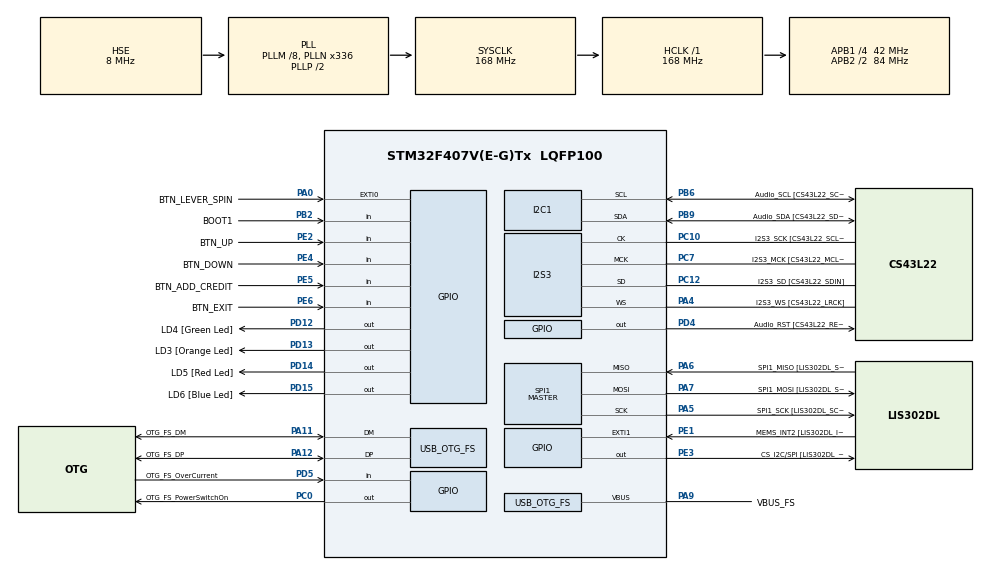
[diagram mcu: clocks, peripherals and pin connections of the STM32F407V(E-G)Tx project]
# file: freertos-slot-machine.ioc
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FREERTOS.Tasks01=gameTask,24,128,StartGameTask,Default,NULL,Dynamic,NULL,NULL;inputTask,24,128,StartInputTask,Default,NULL,Dynamic,NULL,NULL;displayTask,24,128,startDisplayTask,Default,NULL,Dynamic,NULL,NULL;creditTask,24,128,startCreditTask,Default,NULL,Dynamic,NULL,NULL
I2S3.AudioFreq-Half_Duplex_Master=I2S_AUDIOFREQ_96K
I2S3.ErrorAudioFreq=-2.34 %
I2S3.ErrorAudioFreq-Half_Duplex_Master=0.8 %
I2S3.FullDuplexMode=I2S_FULLDUPLEXMODE_DISABLE
I2S3.Instance=SPI$Index
I2S3.RealAudioFreq=93.75 KHz
I2S3.RealAudioFreq-Half_Duplex_Master=96.774 KHz
I2S3.VirtualMode=I2S_MODE_MASTER
Mcu.Family=STM32F4
Mcu.Name=STM32F407V(E-G)Tx
Mcu.Package=LQFP100
NVIC.EXTI0_IRQn=true\:5\:0\:false\:false\:true\:true\:true\:true\:true
NVIC.OTG_FS_IRQn=true\:5\:0\:false\:false\:true\:true\:true\:true\:true
NVIC.PriorityGroup=NVIC_PRIORITYGROUP_4
PA0-WKUP.GPIO_Label=BTN_LEVER_SPIN
PA0-WKUP.GPIO_PuPd=GPIO_PULLDOWN
PA0-WKUP.Signal=GPXTI0
PA10.GPIO_Label=OTG_FS_ID
PA10.GPIO_Mode=GPIO_MODE_AF_PP
PA10.GPIO_PuPd=GPIO_NOPULL
PA10.GPIO_Speed=GPIO_SPEED_FREQ_LOW
PA10.Signal=USB_OTG_FS_ID
PA11.GPIO_Label=OTG_FS_DM
PA11.GPIO_Mode=GPIO_MODE_AF_PP
PA11.GPIO_PuPd=GPIO_NOPULL
PA11.GPIO_Speed=GPIO_SPEED_FREQ_LOW
PA11.Mode=Host_Only
PA11.Signal=USB_OTG_FS_DM
PA12.GPIO_Label=OTG_FS_DP
PA12.GPIO_Mode=GPIO_MODE_AF_PP
PA12.GPIO_PuPd=GPIO_NOPULL
PA12.GPIO_Speed=GPIO_SPEED_FREQ_LOW
PA12.Mode=Host_Only
PA12.Signal=USB_OTG_FS_DP
PA13.GPIO_Label=SWDIO
PA13.Mode=Serial_Wire
PA13.Signal=SYS_JTMS-SWDIO
PA14.GPIO_Label=SWCLK
PA14.Mode=Serial_Wire
PA14.Signal=SYS_JTCK-SWCLK
PA4.GPIO_Label=I2S3_WS [CS43L22_LRCK]
PA4.GPIO_Mode=GPIO_MODE_AF_PP
PA4.GPIO_PuPd=GPIO_NOPULL
PA4.GPIO_Speed=GPIO_SPEED_FREQ_LOW
PA4.Mode=Half_Duplex_Master
PA4.Signal=I2S3_WS
PA5.GPIO_Label=SPI1_SCK [LIS302DL_SCL/SPC]
PA5.GPIO_Mode=GPIO_MODE_AF_PP
PA5.GPIO_PuPd=GPIO_NOPULL
PA5.GPIO_Speed=GPIO_SPEED_FREQ_LOW
PA5.Mode=Full_Duplex_Master
PA5.Signal=SPI1_SCK
PA6.GPIO_Label=SPI1_MISO [LIS302DL_SDO]
PA6.GPIO_Mode=GPIO_MODE_AF_PP
PA6.GPIO_PuPd=GPIO_NOPULL
PA6.GPIO_Speed=GPIO_SPEED_FREQ_LOW
PA6.Mode=Full_Duplex_Master
PA6.Signal=SPI1_MISO
PA7.GPIO_Label=SPI1_MOSI [LIS302DL_SDA/SDI/SDO]
PA7.GPIO_Mode=GPIO_MODE_AF_PP
PA7.GPIO_PuPd=GPIO_NOPULL
PA7.GPIO_Speed=GPIO_SPEED_FREQ_LOW
PA7.Mode=Full_Duplex_Master
PA7.Signal=SPI1_MOSI
PA9.GPIO_Label=VBUS_FS
PA9.GPIO_Mode=GPIO_MODE_INPUT
PA9.GPIO_PuPd=GPIO_NOPULL
PA9.Mode=Activate_VBUS
PA9.Signal=USB_OTG_FS_VBUS
PB10.GPIO_Label=CLK_IN [MP45DT02_CLK]
PB10.GPIO_Mode=GPIO_MODE_AF_PP
PB10.GPIO_PuPd=GPIO_NOPULL
PB10.GPIO_Speed=GPIO_SPEED_FREQ_LOW
PB10.Signal=I2S2_CK
PB2.GPIO_Label=BOOT1
PB2.GPIO_Mode=GPIO_MODE_INPUT
PB2.GPIO_PuPd=GPIO_NOPULL
PB2.Signal=GPIO_Input
PB3.GPIO_Label=SWO
PB3.Signal=SYS_JTDO-SWO
PB6.GPIO_Label=Audio_SCL [CS43L22_SCL]
PB6.GPIO_Mode=GPIO_MODE_AF_OD
PB6.GPIO_Pu=GPIO_PULLUP
PB6.GPIO_PuPd=GPIO_NOPULL
PB6.GPIO_Speed=GPIO_SPEED_FREQ_LOW
PB6.Mode=I2C
PB6.Signal=I2C1_SCL
PB9.GPIO_Label=Audio_SDA [CS43L22_SDA]
PB9.GPIO_Mode=GPIO_MODE_AF_OD
PB9.GPIO_Pu=GPIO_PULLUP
PB9.GPIO_PuPd=GPIO_NOPULL
PB9.GPIO_Speed=GPIO_SPEED_FREQ_LOW
PB9.Mode=I2C
PB9.Signal=I2C1_SDA
PC0.GPIO_Label=OTG_FS_PowerSwitchOn
PC0.GPIO_PuPd=GPIO_NOPULL
PC0.GPIO_Speed=GPIO_SPEED_FREQ_LOW
PC0.PinState=GPIO_PIN_SET
PC0.Signal=GPIO_Output
PC10.GPIO_Label=I2S3_SCK [CS43L22_SCLK]
PC10.GPIO_Mode=GPIO_MODE_AF_PP
PC10.GPIO_PuPd=GPIO_NOPULL
PC10.GPIO_Speed=GPIO_SPEED_FREQ_LOW
PC10.Mode=Half_Duplex_Master
PC10.Signal=I2S3_CK
PC12.GPIO_Label=I2S3_SD [CS43L22_SDIN]
PC12.GPIO_Mode=GPIO_MODE_AF_PP
PC12.GPIO_PuPd=GPIO_NOPULL
PC12.GPIO_Speed=GPIO_SPEED_FREQ_LOW
PC12.Mode=Half_Duplex_Master
PC12.Signal=I2S3_SD
PC14-OSC32_IN.GPIO_Label=PC14-OSC32_IN
PC14-OSC32_IN.Mode=LSE-External-Oscillator
PC14-OSC32_IN.Signal=RCC_OSC32_IN
PC15-OSC32_OUT.GPIO_Label=PC15-OSC32_OUT
PC15-OSC32_OUT.Mode=LSE-External-Oscillator
PC15-OSC32_OUT.Signal=RCC_OSC32_OUT
PC3.GPIO_Label=PDM_OUT [MP45DT02_DOUT]
PC3.GPIO_Mode=GPIO_MODE_AF_PP
PC3.GPIO_PuPd=GPIO_NOPULL
PC3.GPIO_Speed=GPIO_SPEED_FREQ_LOW
PC3.Signal=I2S2_SD
PC7.GPIO_Label=I2S3_MCK [CS43L22_MCLK]
PC7.GPIO_Mode=GPIO_MODE_AF_PP
PC7.GPIO_PuPd=GPIO_NOPULL
PC7.GPIO_Speed=GPIO_SPEED_FREQ_LOW
PC7.Mode=Master_Clock_Activated
PC7.Signal=I2S3_MCK
PD12.GPIO_Label=LD4 [Green Led]
PD12.GPIO_PuPd=GPIO_NOPULL
PD12.GPIO_Speed=GPIO_SPEED_FREQ_LOW
PD12.Signal=GPIO_Output
PD13.GPIO_Label=LD3 [Orange Led]
PD13.GPIO_PuPd=GPIO_NOPULL
PD13.GPIO_Speed=GPIO_SPEED_FREQ_LOW
PD13.Signal=GPIO_Output
PD14.GPIO_Label=LD5 [Red Led]
PD14.GPIO_PuPd=GPIO_NOPULL
PD14.GPIO_Speed=GPIO_SPEED_FREQ_LOW
PD14.Signal=GPIO_Output
PD15.GPIO_Label=LD6 [Blue Led]
PD15.GPIO_PuPd=GPIO_NOPULL
PD15.GPIO_Speed=GPIO_SPEED_FREQ_LOW
PD15.Signal=GPIO_Output
PD4.GPIO_Label=Audio_RST [CS43L22_RESET]
PD4.GPIO_PuPd=GPIO_NOPULL
PD4.GPIO_Speed=GPIO_SPEED_FREQ_LOW
PD4.Signal=GPIO_Output
PD5.GPIO_Label=OTG_FS_OverCurrent
PD5.GPIO_Mode=GPIO_MODE_INPUT
PD5.GPIO_PuPd=GPIO_NOPULL
PD5.Signal=GPIO_Input
PE1.GPIO_Label=MEMS_INT2 [LIS302DL_INT2]
PE1.GPIO_ModeDefaultEXTI=GPIO_MODE_EVT_RISING
PE1.GPIO_PuPd=GPIO_NOPULL
PE1.Signal=GPXTI1
PE2.GPIO_Label=BTN_UP
PE2.GPIO_PuPd=GPIO_PULLUP
PE2.Signal=GPIO_Input
PE3.GPIO_Label=CS_I2C/SPI [LIS302DL_CS_I2C/SPI]
PE3.GPIO_PuPd=GPIO_NOPULL
PE3.GPIO_Speed=GPIO_SPEED_FREQ_LOW
PE3.Signal=GPIO_Output
PE4.GPIO_Label=BTN_DOWN
PE4.GPIO_PuPd=GPIO_PULLUP
PE4.Signal=GPIO_Input
PE5.GPIO_Label=BTN_ADD_CREDIT
PE5.GPIO_PuPd=GPIO_PULLUP
PE5.Signal=GPIO_Input
PE6.GPIO_Label=BTN_EXIT
PE6.GPIO_PuPd=GPIO_PULLUP
PE6.Signal=GPIO_Input
PH0-OSC_IN.GPIO_Label=PH0-OSC_IN
PH0-OSC_IN.Mode=HSE-External-Oscillator
PH0-OSC_IN.Signal=RCC_OSC_IN
PH1-OSC_OUT.GPIO_Label=PH1-OSC_OUT
PH1-OSC_OUT.Mode=HSE-External-Oscillator
PH1-OSC_OUT.Signal=RCC_OSC_OUT
ProjectManager.HeapSize=0x200
ProjectManager.StackSize=0x400
ProjectManager.TargetToolchain=STM32CubeIDE
RCC.48MHZClocksFreq_Value=48000000
RCC.AHBFreq_Value=168000000
RCC.APB1CLKDivider=RCC_HCLK_DIV4
RCC.APB1Freq_Value=42000000
RCC.APB1TimFreq_Value=84000000
RCC.APB2CLKDivider=RCC_HCLK_DIV2
RCC.APB2Freq_Value=84000000
RCC.APB2TimFreq_Value=168000000
RCC.CortexFreq_Value=168000000
RCC.HCLKFreq_Value=168000000
RCC.HSE_VALUE=8000000
RCC.HSI_VALUE=16000000
RCC.PLLM=8
RCC.PLLN=336
RCC.PLLQ=7
RCC.SYSCLKFreq_VALUE=168000000
RCC.SYSCLKSource=RCC_SYSCLKSOURCE_PLLCLK
RCC.VCOOutputFreq_Value=336000000
SPI1.BaudRatePrescaler-Full_Duplex_Master=SPI_BAUDRATEPRESCALER_2
SPI1.CalculateBaudRate-Full_Duplex_Master=42.0 MBits/s
SPI1.Direction=SPI_DIRECTION_2LINES
SPI1.Mode=SPI_MODE_MASTER
SPI1.Mode-Full_Duplex_Master=SPI_MODE_MASTER
SPI1.VirtualType=VM_MASTER
USB_HOST.BSP.number=1
USB_HOST.USBH_HandleTypeDef-CDC_FS=hUsbHostFS
USB_HOST.VirtualModeFS=Cdc
USB_HOST0.BSP.STBoard=false
USB_HOST0.BSP.api=Unknown
USB_HOST0.BSP.instance=PC0
USB_HOST0.BSP.ip=GPIO
USB_HOST0.BSP.mode=Output
USB_HOST0.BSP.name=Drive_VBUS_FS
USB_HOST0.BSP.solution=PC0
USB_OTG_FS.VirtualMode=Host_Only
USB_OTG_FS.phy_itface=HCD_PHY_EMBEDDED
VP_FREERTOS_VS_CMSIS_V2.Mode=CMSIS_V2
VP_RNG_VS_RNG.Mode=RNG_Activate
VP_USB_HOST_VS_USB_HOST_CDC_FS.Mode=CDC_FS
board=STM32F407G-DISC1

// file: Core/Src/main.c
/* USER CODE BEGIN Header */
/**
  ******************************************************************************
  * @file           : main.c
  * @brief          : Main program body
  ******************************************************************************
  * @attention
  *
  * SARAH WAS HERE
  *
  *
  * Copyright (c) 2026 STMicroelectronics.
  * All rights reserved.
  *
  * This software is licensed under terms that can be found in the LICENSE file
  * in the root directory of this software component.
  * If no LICENSE file comes with this software, it is provided AS-IS.
  *
  ******************************************************************************
  */
/* USER CODE END Header */
#include "main.h"
#include "cmsis_os.h"
#include "usb_host.h"

/* USER CODE BEGIN Includes */

#include <stdio.h>

/* USER CODE END Includes */

/* USER CODE BEGIN PD */

// State Definitions
#define STATE_BOOT         0
#define STATE_IDLE         1
#define STATE_ADD_CREDITS  2
#define STATE_PLAYING      3
#define STATE_CASH_OUT     4

// Game Constants
#define MAX_WAGER          10
#define BOOT_TIME_MS       3000
#define CASHOUT_TIME_MS    5000

/* USER CODE END PD */

I2C_HandleTypeDef hi2c1;

I2S_HandleTypeDef hi2s3;

RNG_HandleTypeDef hrng;

SPI_HandleTypeDef hspi1;

/* Definitions for gameTask */
osThreadId_t gameTaskHandle;
const osThreadAttr_t gameTask_attributes = {
  .name = "gameTask",
  .stack_size = 128 * 4,
  .priority = (osPriority_t) osPriorityNormal,
};
/* Definitions for inputTask */
osThreadId_t inputTaskHandle;
const osThreadAttr_t inputTask_attributes = {
  .name = "inputTask",
  .stack_size = 128 * 4,
  .priority = (osPriority_t) osPriorityNormal,
};
/* Definitions for displayTask */
osThreadId_t displayTaskHandle;
const osThreadAttr_t displayTask_attributes = {
  .name = "displayTask",
  .stack_size = 128 * 4,
  .priority = (osPriority_t) osPriorityNormal,
};
/* Definitions for creditTask */
osThreadId_t creditTaskHandle;
const osThreadAttr_t creditTask_attributes = {
  .name = "creditTask",
  .stack_size = 128 * 4,
  .priority = (osPriority_t) osPriorityNormal,
};
/* USER CODE BEGIN PV */

// Volatile because these change across different tasks
volatile int STATE = STATE_BOOT;

uint32_t currentBalance = 0;
uint32_t currentWager = 1;
uint32_t totalWinnings = 0;

// Variables for the RNG logic
uint32_t targetValue = 0; // The number to match (1-9)
uint32_t userValue = 0;   // The randomly generated result of the spin

volatile uint32_t last_press_tick = 0;

/* USER CODE END PV */

void SystemClock_Config(void);
static void MX_GPIO_Init(void);
static void MX_I2C1_Init(void);
static void MX_I2S3_Init(void);
static void MX_SPI1_Init(void);
static void MX_RNG_Init(void);
void StartGameTask(void *argument);
void StartInputTask(void *argument);
void startDisplayTask(void *argument);
void startCreditTask(void *argument);

/* USER CODE BEGIN 0 */
// 8-bit I2C address for PCF8574T (0x27 << 1)
#define LCD_ADDR 0x4E

/**
 * @brief Sends a command to the LCD (RS = 0)
 */
void lcd_send_cmd(char cmd)
{
    char data_u, data_l;
    uint8_t data_t[4];
    data_u = (cmd & 0xf0);
    data_l = ((cmd << 4) & 0xf0);
    // Backlight is bit 3 (0x08), Enable is bit 2 (0x04), RS is bit 0 (0x01)
    data_t[0] = data_u | 0x0C;  // Backlight ON, Enable HIGH, RS LOW
    data_t[1] = data_u | 0x08;  // Backlight ON, Enable LOW, RS LOW
    data_t[2] = data_l | 0x0C;  // Lower nibble Enable HIGH
    data_t[3] = data_l | 0x08;  // Lower nibble Enable LOW
    HAL_I2C_Master_Transmit(&hi2c1, LCD_ADDR, (uint8_t *)data_t, 4, 100);
}

/**
 * @brief Sends data/characters to the LCD (RS = 1)
 */
void lcd_send_data(char data)
{
    char data_u, data_l;
    uint8_t data_t[4];
    data_u = (data & 0xf0);
    data_l = ((data << 4) & 0xf0);
    data_t[0] = data_u | 0x0D;  // Backlight ON, Enable HIGH, RS HIGH
    data_t[1] = data_u | 0x09;  // Backlight ON, Enable LOW, RS HIGH
    data_t[2] = data_l | 0x0D;  // Lower nibble Enable HIGH
    data_t[3] = data_l | 0x09;  // Lower nibble Enable LOW
    HAL_I2C_Master_Transmit(&hi2c1, LCD_ADDR, (uint8_t *)data_t, 4, 100);
}

/**
 * @brief Positions the cursor: row (0-1), col (0-15)
 */
void lcd_put_cur(int row, int col)
{
    switch (row)
    {
        case 0: col |= 0x80; break;
        case 1: col |= 0xC0; break;
    }
    lcd_send_cmd(col);
}

/**
 * @brief Initializes the LCD into 4-bit mode
 */
void lcd_init(void)
{
    // 1. Wait for stable power
    osDelay(100);

    // 2. Force 8-bit mode 3 times to sync (Standard HD44780 procedure)
    lcd_send_cmd(0x33);
    osDelay(5);
    lcd_send_cmd(0x32);
    osDelay(1);

    // 3. Now set 4-bit mode, 2 lines, 5x8 font
    lcd_send_cmd(0x28);
    osDelay(1);

    // 4. Display Control (Display ON, Cursor OFF)
    lcd_send_cmd(0x0C);
    osDelay(1);

    // 5. Clear Display
    lcd_send_cmd(0x01);
    osDelay(2);

    // 6. Entry Mode Set
    lcd_send_cmd(0x06);
    osDelay(1);
}

/**
 * @brief Sends a full string of text to the LCD
 */
void lcd_send_string(char *str)
{
    while (*str) lcd_send_data(*str++);
}
/* USER CODE END 0 */

int main(void)
{

  /* MCU Configuration--------------------------------------------------------*/

  /* Reset of all peripherals, Initializes the Flash interface and the Systick. */
  HAL_Init();

  /* Configure the system clock */
  SystemClock_Config();

  /* Initialize all configured peripherals */
  MX_GPIO_Init();
  MX_I2C1_Init();
  MX_I2S3_Init();
  MX_SPI1_Init();
  MX_RNG_Init();

  /* Init scheduler */
  osKernelInitialize();

  /* USER CODE BEGIN RTOS_SEMAPHORES */
  // Insert semaphores here or some shite
  /* USER CODE END RTOS_SEMAPHORES */

  /* Create the thread(s) */
  /* creation of gameTask */
  gameTaskHandle = osThreadNew(StartGameTask, NULL, &gameTask_attributes);

  /* creation of inputTask */
  inputTaskHandle = osThreadNew(StartInputTask, NULL, &inputTask_attributes);

  /* creation of displayTask */
  displayTaskHandle = osThreadNew(startDisplayTask, NULL, &displayTask_attributes);

  /* creation of creditTask */
  creditTaskHandle = osThreadNew(startCreditTask, NULL, &creditTask_attributes);

  /* Start scheduler */
  osKernelStart();

  /* We should never get here as control is now taken by the scheduler */

  /* Infinite loop */
  while (1)
  {

  }
}

void SystemClock_Config(void)
{
  RCC_OscInitTypeDef RCC_OscInitStruct = {0};
  RCC_ClkInitTypeDef RCC_ClkInitStruct = {0};

  /** Configure the main internal regulator output voltage
  */
  __HAL_RCC_PWR_CLK_ENABLE();
  __HAL_PWR_VOLTAGESCALING_CONFIG(PWR_REGULATOR_VOLTAGE_SCALE1);

  /** Initializes the RCC Oscillators according to the specified parameters
  * in the RCC_OscInitTypeDef structure.
  */
  RCC_OscInitStruct.OscillatorType = RCC_OSCILLATORTYPE_HSE;
  RCC_OscInitStruct.HSEState = RCC_HSE_ON;
  RCC_OscInitStruct.PLL.PLLState = RCC_PLL_ON;
  RCC_OscInitStruct.PLL.PLLSource = RCC_PLLSOURCE_HSE;
  RCC_OscInitStruct.PLL.PLLM = 8;
  RCC_OscInitStruct.PLL.PLLN = 336;
  RCC_OscInitStruct.PLL.PLLP = RCC_PLLP_DIV2;
  RCC_OscInitStruct.PLL.PLLQ = 7;
  if (HAL_RCC_OscConfig(&RCC_OscInitStruct) != HAL_OK)
  {
    Error_Handler();
  }

  /** Initializes the CPU, AHB and APB buses clocks
  */
  RCC_ClkInitStruct.ClockType = RCC_CLOCKTYPE_HCLK|RCC_CLOCKTYPE_SYSCLK
                              |RCC_CLOCKTYPE_PCLK1|RCC_CLOCKTYPE_PCLK2;
  RCC_ClkInitStruct.SYSCLKSource = RCC_SYSCLKSOURCE_PLLCLK;
  RCC_ClkInitStruct.AHBCLKDivider = RCC_SYSCLK_DIV1;
  RCC_ClkInitStruct.APB1CLKDivider = RCC_HCLK_DIV4;
  RCC_ClkInitStruct.APB2CLKDivider = RCC_HCLK_DIV2;

  if (HAL_RCC_ClockConfig(&RCC_ClkInitStruct, FLASH_LATENCY_5) != HAL_OK)
  {
    Error_Handler();
  }
}

static void MX_I2C1_Init(void)
{

  hi2c1.Instance = I2C1;
  hi2c1.Init.ClockSpeed = 100000;
  hi2c1.Init.DutyCycle = I2C_DUTYCYCLE_2;
  hi2c1.Init.OwnAddress1 = 0;
  hi2c1.Init.AddressingMode = I2C_ADDRESSINGMODE_7BIT;
  hi2c1.Init.DualAddressMode = I2C_DUALADDRESS_DISABLE;
  hi2c1.Init.OwnAddress2 = 0;
  hi2c1.Init.GeneralCallMode = I2C_GENERALCALL_DISABLE;
  hi2c1.Init.NoStretchMode = I2C_NOSTRETCH_DISABLE;
  if (HAL_I2C_Init(&hi2c1) != HAL_OK)
  {
    Error_Handler();
  }

}

static void MX_I2S3_Init(void)
{

  hi2s3.Instance = SPI3;
  hi2s3.Init.Mode = I2S_MODE_MASTER_TX;
  hi2s3.Init.Standard = I2S_STANDARD_PHILIPS;
  hi2s3.Init.DataFormat = I2S_DATAFORMAT_16B;
  hi2s3.Init.MCLKOutput = I2S_MCLKOUTPUT_ENABLE;
  hi2s3.Init.AudioFreq = I2S_AUDIOFREQ_96K;
  hi2s3.Init.CPOL = I2S_CPOL_LOW;
  hi2s3.Init.ClockSource = I2S_CLOCK_PLL;
  hi2s3.Init.FullDuplexMode = I2S_FULLDUPLEXMODE_DISABLE;
  if (HAL_I2S_Init(&hi2s3) != HAL_OK)
  {
    Error_Handler();
  }

}

static void MX_RNG_Init(void)
{

  hrng.Instance = RNG;
  if (HAL_RNG_Init(&hrng) != HAL_OK)
  {
    Error_Handler();
  }

}

static void MX_SPI1_Init(void)
{

  /* SPI1 parameter configuration*/
  hspi1.Instance = SPI1;
  hspi1.Init.Mode = SPI_MODE_MASTER;
  hspi1.Init.Direction = SPI_DIRECTION_2LINES;
  hspi1.Init.DataSize = SPI_DATASIZE_8BIT;
  hspi1.Init.CLKPolarity = SPI_POLARITY_LOW;
  hspi1.Init.CLKPhase = SPI_PHASE_1EDGE;
  hspi1.Init.NSS = SPI_NSS_SOFT;
  hspi1.Init.BaudRatePrescaler = SPI_BAUDRATEPRESCALER_2;
  hspi1.Init.FirstBit = SPI_FIRSTBIT_MSB;
  hspi1.Init.TIMode = SPI_TIMODE_DISABLE;
  hspi1.Init.CRCCalculation = SPI_CRCCALCULATION_DISABLE;
  hspi1.Init.CRCPolynomial = 10;
  if (HAL_SPI_Init(&hspi1) != HAL_OK)
  {
    Error_Handler();
  }

}

static void MX_GPIO_Init(void)
{
  GPIO_InitTypeDef GPIO_InitStruct = {0};

  /* GPIO Ports Clock Enable */
  __HAL_RCC_GPIOE_CLK_ENABLE();
  __HAL_RCC_GPIOC_CLK_ENABLE();
  __HAL_RCC_GPIOH_CLK_ENABLE();
  __HAL_RCC_GPIOA_CLK_ENABLE();
  __HAL_RCC_GPIOB_CLK_ENABLE();
  __HAL_RCC_GPIOD_CLK_ENABLE();

  /*Configure GPIO pin Output Level */
  HAL_GPIO_WritePin(CS_I2C_SPI_GPIO_Port, CS_I2C_SPI_Pin, GPIO_PIN_RESET);

  /*Configure GPIO pin Output Level */
  HAL_GPIO_WritePin(OTG_FS_PowerSwitchOn_GPIO_Port, OTG_FS_PowerSwitchOn_Pin, GPIO_PIN_SET);

  /*Configure GPIO pin Output Level */
  HAL_GPIO_WritePin(GPIOD, LD4_Pin|LD3_Pin|LD5_Pin|LD6_Pin
                          |Audio_RST_Pin, GPIO_PIN_RESET);

  /*Configure GPIO pins : BTN_UP_Pin BTN_DOWN_Pin BTN_ADD_CREDIT_Pin BTN_EXIT_Pin */
  GPIO_InitStruct.Pin = BTN_UP_Pin|BTN_DOWN_Pin|BTN_ADD_CREDIT_Pin|BTN_EXIT_Pin;
  GPIO_InitStruct.Mode = GPIO_MODE_INPUT;
  GPIO_InitStruct.Pull = GPIO_PULLUP;
  HAL_GPIO_Init(GPIOE, &GPIO_InitStruct);

  /*Configure GPIO pin : CS_I2C_SPI_Pin */
  GPIO_InitStruct.Pin = CS_I2C_SPI_Pin;
  GPIO_InitStruct.Mode = GPIO_MODE_OUTPUT_PP;
  GPIO_InitStruct.Pull = GPIO_NOPULL;
  GPIO_InitStruct.Speed = GPIO_SPEED_FREQ_LOW;
  HAL_GPIO_Init(CS_I2C_SPI_GPIO_Port, &GPIO_InitStruct);

  /*Configure GPIO pin : OTG_FS_PowerSwitchOn_Pin */
  GPIO_InitStruct.Pin = OTG_FS_PowerSwitchOn_Pin;
  GPIO_InitStruct.Mode = GPIO_MODE_OUTPUT_PP;
  GPIO_InitStruct.Pull = GPIO_NOPULL;
  GPIO_InitStruct.Speed = GPIO_SPEED_FREQ_LOW;
  HAL_GPIO_Init(OTG_FS_PowerSwitchOn_GPIO_Port, &GPIO_InitStruct);

  /*Configure GPIO pin : PDM_OUT_Pin */
  GPIO_InitStruct.Pin = PDM_OUT_Pin;
  GPIO_InitStruct.Mode = GPIO_MODE_AF_PP;
  GPIO_InitStruct.Pull = GPIO_NOPULL;
  GPIO_InitStruct.Speed = GPIO_SPEED_FREQ_LOW;
  GPIO_InitStruct.Alternate = GPIO_AF5_SPI2;
  HAL_GPIO_Init(PDM_OUT_GPIO_Port, &GPIO_InitStruct);

  /*Configure GPIO pin : BTN_LEVER_SPIN_Pin */
  GPIO_InitStruct.Pin = BTN_LEVER_SPIN_Pin;
  GPIO_InitStruct.Mode = GPIO_MODE_IT_RISING;
  GPIO_InitStruct.Pull = GPIO_PULLDOWN;
  HAL_GPIO_Init(BTN_LEVER_SPIN_GPIO_Port, &GPIO_InitStruct);

  /*Configure GPIO pin : BOOT1_Pin */
  GPIO_InitStruct.Pin = BOOT1_Pin;
  GPIO_InitStruct.Mode = GPIO_MODE_INPUT;
  GPIO_InitStruct.Pull = GPIO_NOPULL;
  HAL_GPIO_Init(BOOT1_GPIO_Port, &GPIO_InitStruct);

  /*Configure GPIO pin : CLK_IN_Pin */
  GPIO_InitStruct.Pin = CLK_IN_Pin;
  GPIO_InitStruct.Mode = GPIO_MODE_AF_PP;
  GPIO_InitStruct.Pull = GPIO_NOPULL;
  GPIO_InitStruct.Speed = GPIO_SPEED_FREQ_LOW;
  GPIO_InitStruct.Alternate = GPIO_AF5_SPI2;
  HAL_GPIO_Init(CLK_IN_GPIO_Port, &GPIO_InitStruct);

  /*Configure GPIO pins : LD4_Pin LD3_Pin LD5_Pin LD6_Pin
                           Audio_RST_Pin */
  GPIO_InitStruct.Pin = LD4_Pin|LD3_Pin|LD5_Pin|LD6_Pin
                          |Audio_RST_Pin;
  GPIO_InitStruct.Mode = GPIO_MODE_OUTPUT_PP;
  GPIO_InitStruct.Pull = GPIO_NOPULL;
  GPIO_InitStruct.Speed = GPIO_SPEED_FREQ_LOW;
  HAL_GPIO_Init(GPIOD, &GPIO_InitStruct);

  /*Configure GPIO pin : OTG_FS_OverCurrent_Pin */
  GPIO_InitStruct.Pin = OTG_FS_OverCurrent_Pin;
  GPIO_InitStruct.Mode = GPIO_MODE_INPUT;
  GPIO_InitStruct.Pull = GPIO_NOPULL;
  HAL_GPIO_Init(OTG_FS_OverCurrent_GPIO_Port, &GPIO_InitStruct);

  /*Configure GPIO pin : MEMS_INT2_Pin */
  GPIO_InitStruct.Pin = MEMS_INT2_Pin;
  GPIO_InitStruct.Mode = GPIO_MODE_EVT_RISING;
  GPIO_InitStruct.Pull = GPIO_NOPULL;
  HAL_GPIO_Init(MEMS_INT2_GPIO_Port, &GPIO_InitStruct);

  /* EXTI interrupt init*/
  HAL_NVIC_SetPriority(EXTI0_IRQn, 5, 0);
  HAL_NVIC_EnableIRQ(EXTI0_IRQn);

}

/* USER CODE BEGIN 4 */

// IDLE screen (Nothing displayed for now)
void displayIdleScreen(void)
{
    HAL_GPIO_WritePin(GPIOD, GPIO_PIN_12 | GPIO_PIN_15, GPIO_PIN_RESET); // Others OFF
}

// CREDITS screen turns on GREEN LED
void displayCreditsScreen(void)
{
    HAL_GPIO_WritePin(GPIOD, GPIO_PIN_12, GPIO_PIN_SET); // GREEN ON
    HAL_GPIO_WritePin(GPIOD, GPIO_PIN_15, GPIO_PIN_RESET); // Others OFF
}

// PLAYING screen turns on BLUE LED
void displayPlayingScreen(void)
{
    HAL_GPIO_WritePin(GPIOD, GPIO_PIN_15, GPIO_PIN_SET); // BLUE ON
    HAL_GPIO_WritePin(GPIOD, GPIO_PIN_12, GPIO_PIN_RESET); // Others OFF
}

/* USER CODE BEGIN 4 */

void HAL_GPIO_EXTI_Callback(uint16_t GPIO_Pin)
{
  if (GPIO_Pin == BTN_LEVER_SPIN_Pin)
  {
	// Don't allow spinning if we are cashing out
	if (STATE == STATE_CASH_OUT)
		return;
    // DEBOUNCE: If the last press was less than 250ms ago, ignore this one
    if ((HAL_GetTick() - last_press_tick) < 250)
    {
      return;
    }
    last_press_tick = HAL_GetTick(); // Record the time of this valid press

    // Now execute your state logic
    if (STATE == STATE_IDLE)
    {
      STATE = STATE_ADD_CREDITS;
    }
    else if (STATE == STATE_ADD_CREDITS)
    {
      if (currentBalance > 0)
      {
        STATE = STATE_PLAYING;
      }
    }

    else if (STATE == STATE_PLAYING)
    {
      // Make sure the player can afford the spin
      if (currentWager > currentBalance)
      {
        STATE = STATE_ADD_CREDITS;
        return;
      }

      // --- THE SPIN ---
      uint32_t raw_rng;
      uint32_t payout = 0;
      uint32_t diff = 0;

      HAL_RNG_GenerateRandomNumber(&hrng, &raw_rng);
      targetValue = (raw_rng % 9) + 1;

      HAL_RNG_GenerateRandomNumber(&hrng, &raw_rng);
      userValue = (raw_rng % 9) + 1;

      // Deduct wager first
      currentBalance -= currentWager;

      // Find absolute difference
      if (userValue > targetValue)
      {
        diff = userValue - targetValue;
      }
      else
      {
        diff = targetValue - userValue;
      }

      // Apply payout multiplier
      if (diff == 0)
      {
        payout = currentWager * 5;   // Exact match: 5x wager
      }
      else if (diff == 1)
      {
        payout = currentWager * 2;   // Difference of 1: 2x wager
      }
      else if (diff == 2)
      {
        payout = currentWager;       // Difference of 2: 1x wager
      }
      else
      {
        payout = 0;                  // Difference greater than 2: 0x
      }

      currentBalance += payout;

      if (currentBalance == 0)
      {
        STATE = STATE_ADD_CREDITS;
      }
    }

  }
}

/* USER CODE END 4 */

void StartGameTask(void *argument)
{
  /* init code for USB_HOST */
  MX_USB_HOST_Init();
  /* USER CODE BEGIN 5 */

  // --- BOOT LOCKOUT (STATE 0) ---
  // We stay here for 3 seconds. Buttons will be ignored in the InputTask later.
  HAL_GPIO_WritePin(GPIOD, LD3_Pin, GPIO_PIN_SET); // ORANGE LED indicates BOOTING

  osDelay(BOOT_TIME_MS); // Simple delay during the startup phase

  STATE = STATE_IDLE; // Move to IDLE after 3 seconds
  HAL_GPIO_WritePin(GPIOD, LD3_Pin, GPIO_PIN_RESET); // BOOT LED (ORANGE) OFF

  /* Infinite loop */
  for(;;)
  {
    // The main game logic will go here in the next step
    osDelay(10);
  }
  /* USER CODE END 5 */
}

void StartInputTask(void *argument)
{
  /* USER CODE BEGIN StartInputTask */
  for(;;)
  {

  // --- ADD CREDIT BUTTON (PE5) ---
	if (HAL_GPIO_ReadPin(GPIOE, BTN_ADD_CREDIT_Pin) == GPIO_PIN_RESET)
	{
	  // If we are playing, go back to the credit screen
	  if (STATE == STATE_PLAYING)
	  {
		  STATE = STATE_ADD_CREDITS;
	  }
	  // If we were already in IDLE, move to ADD_CREDITS
	  else if (STATE == STATE_IDLE)
	  {
		  STATE = STATE_ADD_CREDITS;
	  }
	  osDelay(200); // Debounce
	}
    // Only allow input if we are in a state that accepts it
    if (STATE == STATE_ADD_CREDITS || STATE == STATE_PLAYING)
    {
      // --- UP BUTTON (PE2) ---
      if (HAL_GPIO_ReadPin(GPIOE, BTN_UP_Pin) == GPIO_PIN_RESET)
      {
        if (STATE == STATE_ADD_CREDITS)
        {
           currentBalance++; // Add money
        }
        else if (STATE == STATE_PLAYING)
        {
           if (currentWager < MAX_WAGER && currentWager < currentBalance)
           {
              currentWager++; // Increase bet
           }
        }
        osDelay(200); // Debounce: wait for finger to lift
      }

      // --- DOWN BUTTON (PE4) ---
      if (HAL_GPIO_ReadPin(GPIOE, BTN_DOWN_Pin) == GPIO_PIN_RESET)
      {
        if (STATE == STATE_ADD_CREDITS)
        {
           if (currentBalance > 0) currentBalance--; // Prevent negative balance
        }
        else if (STATE == STATE_PLAYING)
        {
           if (currentWager > 1) currentWager--; // Minimum bet is 1
        }
        osDelay(200); // Debounce
      }
      // --- EXIT / CASH OUT BUTTON (PE6) ---
		if (HAL_GPIO_ReadPin(GPIOE, BTN_EXIT_Pin) == GPIO_PIN_RESET)
		{
		  if (STATE == STATE_ADD_CREDITS || STATE == STATE_PLAYING)
		  {
			  totalWinnings = currentBalance; // 1. Save the final total
			  STATE = STATE_CASH_OUT;         // 2. Switch state so LCD shows winnings

			  osDelay(5000);                  // 3. The 5-second Lockout

			  currentBalance = 0;             // 4. Reset values only after the wait
			  currentWager = 1;
			  STATE = STATE_IDLE;             // 5. Go back to Welcome screen
		  }
		  osDelay(200); // Debounce
		}
    }
    osDelay(20);
  }
  /* USER CODE END StartInputTask */
}

void startDisplayTask(void *argument)
{
  /* USER CODE BEGIN startDisplayTask */
  // 1. Initialize the LCD hardware
  lcd_init();

  char buffer[17]; // Buffer to hold one line of text (16 chars + null terminator)
  int lastState = -1;

  for(;;)
  {
    // Only clear the screen when we CHANGE states to prevent flickering
    if (STATE != lastState)
    {
        lcd_send_cmd(0x01); // Clear Display
        lastState = STATE;
        // Turn off Green, Red, Blue (Orange is handled by Boot task)
        HAL_GPIO_WritePin(GPIOD, LD4_Pin | LD5_Pin | LD6_Pin, GPIO_PIN_RESET);
    }

    switch(STATE)
    {
      case STATE_BOOT: // State 0
        lcd_put_cur(0, 0);
        lcd_send_string("System");
        lcd_put_cur(1, 0);
        lcd_send_string("Initializing...");
        break;

      case STATE_IDLE: // State 1
        lcd_put_cur(0, 0);
        lcd_send_string("Welcome! Press");
        lcd_put_cur(1, 0);
        lcd_send_string("OK to Start");
        break;

      case STATE_ADD_CREDITS: // State 2
        lcd_put_cur(0, 0);
        lcd_send_string("Add Credits:");
        // Use sprintf to put the currentBalance into our buffer
        sprintf(buffer, "Balance: %lu", currentBalance);
        lcd_put_cur(1, 0);
        lcd_send_string(buffer);
        HAL_GPIO_WritePin(GPIOD, LD4_Pin, GPIO_PIN_SET); // Green LED ON
        break;

      case STATE_PLAYING:

	    taskENTER_CRITICAL();

	    uint32_t balance = currentBalance;
	    uint32_t wager = currentWager;

	    taskEXIT_CRITICAL();

	    // Clears the screen before updating the balance and wager
	    lcd_put_cur(0, 0);
	    lcd_send_string("                       ");

		lcd_put_cur(0, 0);
	    sprintf(buffer, "B:%lu W:%lu", balance, wager);
		lcd_send_string(buffer);

		// Show the result of the last spin
		lcd_put_cur(1, 0);
		sprintf(buffer, "Tgt:%lu Res:%lu", targetValue, userValue);
		lcd_send_string(buffer);
		break;

	  case STATE_CASH_OUT:
		lcd_put_cur(0, 0);
		lcd_send_string("Cashing Out...");
		sprintf(buffer, "Winnings: %lu", totalWinnings);
		lcd_put_cur(1, 0);
		lcd_send_string(buffer);
		HAL_GPIO_WritePin(GPIOD, LD5_Pin, GPIO_PIN_SET); // Red LED ON
		break;
    }

    osDelay(200); // Refresh every 200ms
  }
  /* USER CODE END startDisplayTask */
}

void startCreditTask(void *argument)
{
  for(;;)
  {
    osDelay(1);
  }
}

void Error_Handler(void)
{
  __disable_irq();
  while (1)
  {
  }
}
